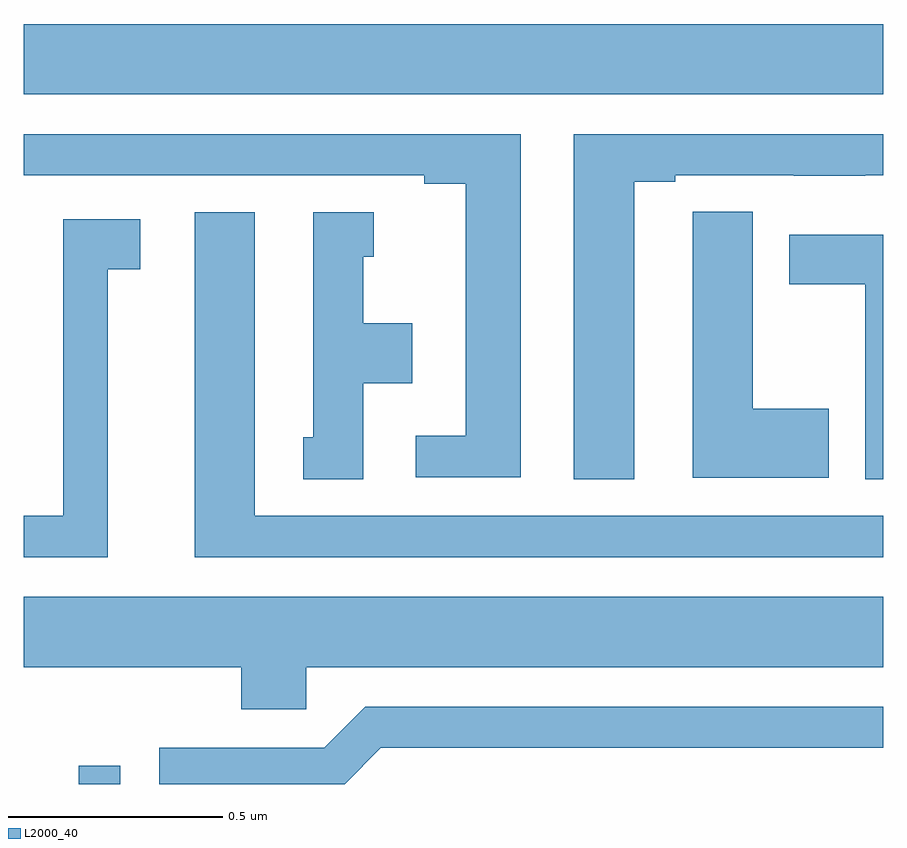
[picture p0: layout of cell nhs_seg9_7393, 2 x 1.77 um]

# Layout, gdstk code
import gdstk
lib = gdstk.Library(unit=1e-6, precision=1e-09)
def R(c, l, rs):  # rectangles x0, y0, x1, y1
    for r in rs: c.add(gdstk.rectangle(r[:2], r[2:], *l))
def P(c, l, *ps):  # polygons
    for p in ps: c.add(gdstk.Polygon(p, *l))
L2000_40 = (2000, 40)

nhs_seg9_7393 = lib.new_cell('nhs_seg9_7393')
R(nhs_seg9_7393, L2000_40, [(204.128,1177.5,204.225,1177.543), (204,1179.104,206,1179.268)])
P(nhs_seg9_7393, L2000_40, [(205.156,1179.012),(204,1179.012),(204,1178.916),(204.932,1178.916),(204.932,1178.896),(205.028,1178.896),(205.028,1178.31),(204.912,1178.31),(204.912,1178.214),(205.156,1178.214)],
  [(205.42,1178.901),(205.516,1178.901),(205.516,1178.916),(205.792,1178.916),(205.792,1178.915),(205.958,1178.915),(205.958,1178.916),(206,1178.916),(206,1179.012),(205.28,1179.012),(205.28,1178.209),(205.42,1178.209)],
  [(205.873,1178.373),(205.696,1178.373),(205.696,1178.831),(205.557,1178.831),(205.557,1178.723),(205.556,1178.723),(205.556,1178.213),(205.873,1178.213)],
  [(204.79,1178.432),(204.904,1178.432),(204.904,1178.572),(204.79,1178.572),(204.79,1178.727),(204.814,1178.727),(204.814,1178.83),(204.674,1178.83),(204.674,1178.307),(204.65,1178.307),(204.65,1178.209),(204.79,1178.209)],
  [(206,1178.124),(204.538,1178.124),(204.538,1178.83),(204.398,1178.83),(204.398,1178.028),(206,1178.028)],
  [(204.196,1178.698),(204.271,1178.698),(204.271,1178.814),(204.092,1178.814),(204.092,1178.124),(204,1178.124),(204,1178.028),(204.196,1178.028)],
  [(206,1178.778),(205.781,1178.778),(205.781,1178.662),(205.958,1178.662),(205.958,1178.209),(206,1178.209)],
  [(204.657,1177.772),(206,1177.772),(206,1177.936),(204,1177.936),(204,1177.772),(204.506,1177.772),(204.506,1177.674),(204.657,1177.674)],
  [(204.831,1177.584),(206,1177.584),(206,1177.68),(204.795,1177.68),(204.699,1177.584),(204.315,1177.584),(204.315,1177.5),(204.747,1177.5)])

lib.write_gds('nhs_seg9_7393.gds')
